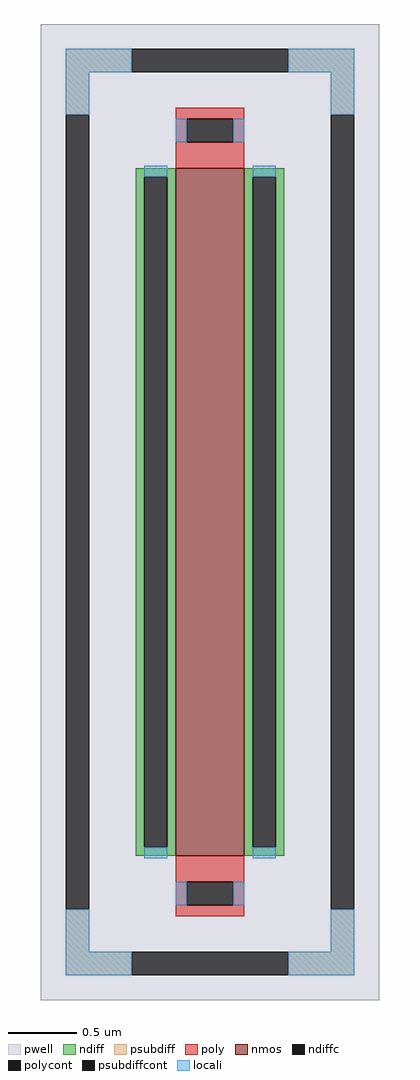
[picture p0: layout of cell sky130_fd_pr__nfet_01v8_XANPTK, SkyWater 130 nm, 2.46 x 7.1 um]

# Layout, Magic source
magic
tech sky130A
<< pwell >>
rect -123 -355 123 355
<< nmos >>
rect -25 -250 25 250
<< ndiff >>
rect -54 244 -25 250
rect -54 -244 -48 244
rect -31 -244 -25 244
rect -54 -250 -25 -244
rect 25 244 54 250
rect 25 -244 31 244
rect 48 -244 54 244
rect 25 -250 54 -244
<< ndiffc >>
rect -48 -244 -31 244
rect 31 -244 48 244
<< psubdiff >>
rect -105 320 -57 337
rect 57 320 105 337
rect -105 289 -88 320
rect 88 289 105 320
rect -105 -320 -88 -289
rect 88 -320 105 -289
rect -105 -337 -57 -320
rect 57 -337 105 -320
<< psubdiffcont >>
rect -57 320 57 337
rect -105 -289 -88 289
rect 88 -289 105 289
rect -57 -337 57 -320
<< poly >>
rect -25 286 25 294
rect -25 269 -17 286
rect 17 269 25 286
rect -25 250 25 269
rect -25 -269 25 -250
rect -25 -286 -17 -269
rect 17 -286 25 -269
rect -25 -294 25 -286
<< polycont >>
rect -17 269 17 286
rect -17 -286 17 -269
<< locali >>
rect -105 320 -57 337
rect 57 320 105 337
rect -105 289 -88 320
rect 88 289 105 320
rect -25 269 -17 286
rect 17 269 25 286
rect -48 244 -31 252
rect -48 -252 -31 -244
rect 31 244 48 252
rect 31 -252 48 -244
rect -25 -286 -17 -269
rect 17 -286 25 -269
rect -105 -320 -88 -289
rect 88 -320 105 -289
rect -105 -337 -57 -320
rect 57 -337 105 -320
<< properties >>
string gencell sky130_fd_pr__nfet_01v8
string FIXED_BBOX -96 -328 96 328
string parameters w 5 l 0.5 m 1 nf 1 diffcov 100 polycov 100 guard 1 glc 1 grc 1 gtc 1 gbc 1 tbcov 100 rlcov 100 topc 1 botc 1 poverlap 0 doverlap 1 lmin 0.15 wmin 0.42 compatible {sky130_fd_pr__nfet_01v8 sky130_fd_pr__nfet_01v8_lvt  sky130_fd_bs_flash__special_sonosfet_star  sky130_fd_pr__nfet_g5v0d10v5 sky130_fd_pr__nfet_05v0_nvt} full_metal 1
string library sky130
<< end >>
